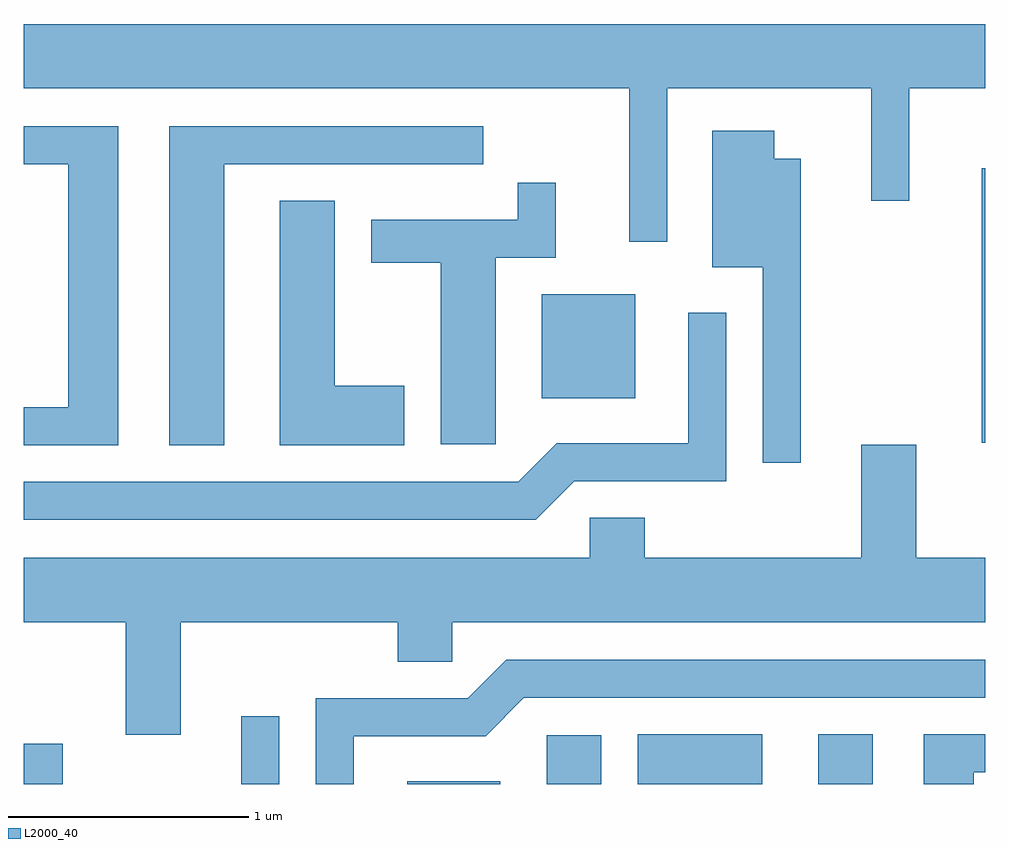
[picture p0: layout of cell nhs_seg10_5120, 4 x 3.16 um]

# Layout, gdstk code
import gdstk
lib = gdstk.Library(unit=1e-6, precision=1e-09)
def R(c, l, rs):  # rectangles x0, y0, x1, y1
    for r in rs: c.add(gdstk.rectangle(r[:2], r[2:], *l))
def P(c, l, *ps):  # polygons
    for p in ps: c.add(gdstk.Polygon(p, *l))
L2000_40 = (2000, 40)

nhs_seg10_5120 = lib.new_cell('nhs_seg10_5120')
R(nhs_seg10_5120, L2000_40, [(335.611,2166.522,335.774,2166.689), (336.516,2166.522,336.674,2166.803), (337.206,2166.522,337.594,2166.534), (337.786,2166.522,338.014,2166.724), (338.166,2166.522,338.684,2166.729), (338.916,2166.522,339.144,2166.729), (339.596,2167.941,339.611,2169.084), (337.766,2168.126,338.154,2168.559)])
P(nhs_seg10_5120, L2000_40, [(338.289,2169.416),(339.136,2169.416),(339.136,2168.948),(339.294,2168.948),(339.294,2169.416),(339.611,2169.416),(339.611,2169.684),(335.611,2169.684),(335.611,2169.416),(338.131,2169.416),(338.131,2168.778),(338.289,2168.778)],
  [(336.444,2169.101),(337.523,2169.101),(337.523,2169.259),(336.216,2169.259),(336.216,2167.931),(336.444,2167.931)],
  [(336.004,2169.259),(335.611,2169.259),(335.611,2169.101),(335.796,2169.101),(335.796,2168.089),(335.611,2168.089),(335.611,2167.931),(336.004,2167.931)],
  [(338.844,2169.124),(338.734,2169.124),(338.734,2169.239),(338.476,2169.239),(338.476,2168.671),(338.686,2168.671),(338.686,2167.858),(338.844,2167.858)],
  [(337.574,2168.711),(337.824,2168.711),(337.824,2169.023),(337.666,2169.023),(337.666,2168.869),(337.056,2168.869),(337.056,2168.691),(337.346,2168.691),(337.346,2167.936),(337.574,2167.936)],
  [(337.194,2168.179),(336.904,2168.179),(336.904,2168.949),(336.676,2168.949),(336.676,2167.931),(337.194,2167.931)],
  [(337.902,2167.781),(338.534,2167.781),(338.534,2168.483),(338.376,2168.483),(338.376,2167.939),(337.829,2167.939),(337.669,2167.779),(335.611,2167.779),(335.611,2167.621),(337.742,2167.621)],
  [(336.264,2167.196),(337.166,2167.196),(337.166,2167.031),(337.394,2167.031),(337.394,2167.196),(339.611,2167.196),(339.611,2167.464),(339.324,2167.464),(339.324,2167.934),(339.096,2167.934),(339.096,2167.464),(338.194,2167.464),(338.194,2167.629),(337.966,2167.629),(337.966,2167.464),(335.611,2167.464),(335.611,2167.196),(336.036,2167.196),(336.036,2166.726),(336.264,2166.726)],
  [(336.984,2166.721),(337.532,2166.721),(337.692,2166.881),(339.611,2166.881),(339.611,2167.039),(337.619,2167.039),(337.459,2166.879),(336.826,2166.879),(336.826,2166.522),(336.984,2166.522)],
  [(339.564,2166.571),(339.611,2166.571),(339.611,2166.729),(339.356,2166.729),(339.356,2166.522),(339.564,2166.522)])

lib.write_gds('nhs_seg10_5120.gds')
